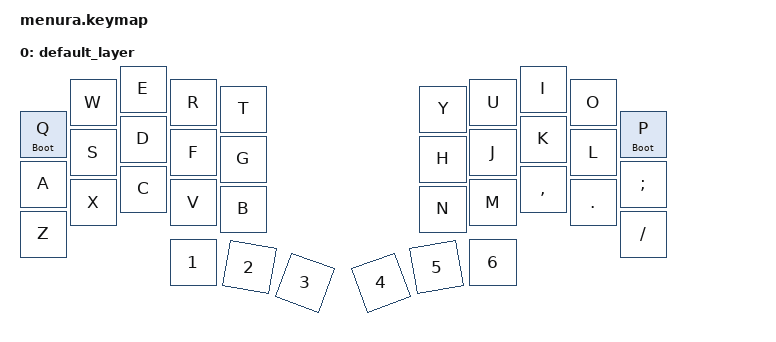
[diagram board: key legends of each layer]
#include <behaviors.dtsi>
#include <dt-bindings/zmk/keys.h>
#include <dt-bindings/zmk/bt.h>

/ {
    combos {
        compatible = "zmk,combos";
        combo_studio {
            timeout-ms = <50>;
            key-positions = <0 9 10 19>;
            bindings = <&studio_unlock>;
        };
    };

    behaviors {
        hb: hold_boot {
            compatible = "zmk,behavior-hold-tap";
            #binding-cells = <2>;
            tapping-term-ms = <2000>;
            flavor = "tap-preferred";
            bindings = <&bootloader>, <&kp>;
        };
    };
};

/ {
    keymap {
        compatible = "zmk,keymap";

        default_layer {
            bindings = <
&hb 0 Q  &kp W &kp E &kp R &kp T   &kp Y &kp U &kp I &kp O &hb 0 P
&kp A    &kp S &kp D &kp F &kp G   &kp H &kp J &kp K &kp L &kp SEMI
&kp Z    &kp X &kp C &kp V &kp B   &kp N &kp M &kp COMMA &kp DOT &kp FSLH
            &kp N1 &kp N2 &kp N3   &kp N4 &kp N5 &kp N6
            >;
        };

        lower_layer {
            status = "reserved";
        };

        raise_layer {
            status = "reserved";
        };

        adjust_layer {
            status = "reserved";
        };
    };
};
